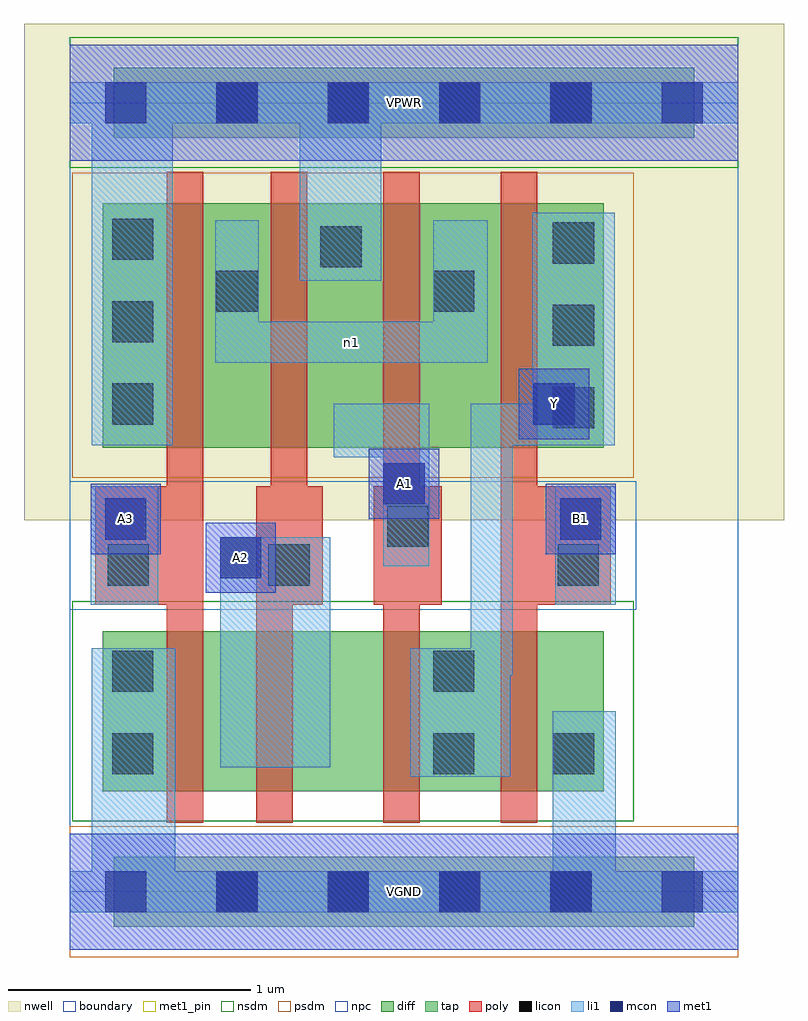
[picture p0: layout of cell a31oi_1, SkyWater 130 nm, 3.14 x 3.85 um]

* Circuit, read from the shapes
.subckt a31oi_1 A1 A2 A3 B1 VGND VPWR Y n1
XM1 n2 A3 VGND VGND sky130_fd_pr__nfet_01v8 w=0.66 l=0.15
XM2 n3 A2 n2 VGND sky130_fd_pr__nfet_01v8 w=0.66 l=0.15
XM3 Y A1 n3 VGND sky130_fd_pr__nfet_01v8 w=0.66 l=0.15
XM4 VGND B1 Y VGND sky130_fd_pr__nfet_01v8 w=0.66 l=0.15
XM5 n1 A3 VPWR VPWR sky130_fd_pr__pfet_01v8 w=1.01 l=0.15
XM6 VPWR A2 n1 VPWR sky130_fd_pr__pfet_01v8 w=1.01 l=0.15
XM7 n1 A1 VPWR VPWR sky130_fd_pr__pfet_01v8 w=1.01 l=0.15
XM8 Y B1 n1 VPWR sky130_fd_pr__pfet_01v8 w=1.01 l=0.15
.ends

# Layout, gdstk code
import gdstk
lib = gdstk.Library(unit=1e-6, precision=1e-09)
def R(c, l, rs):  # rectangles x0, y0, x1, y1
    for r in rs: c.add(gdstk.rectangle(r[:2], r[2:], *l))
def A(c, l, x, y, w, h, nx, ny, dx, dy):  # array of equal rectangles
    R(c, l, [(x+i*dx, y+j*dy, x+i*dx+w, y+j*dy+h) for i in range(nx) for j in range(ny)])
nwell = (64, 20)
diff = (65, 20)
tap = (65, 44)
poly = (66, 20)
licon = (66, 44)
li1 = (67, 20)
mcon = (67, 44)
met1_pin = (68, 16)
met1 = (68, 20)
nsdm = (93, 44)
psdm = (94, 20)
npc = (95, 20)
boundary = (235, 4)

a31oi_1 = lib.new_cell('a31oi_1')
R(a31oi_1, nwell, [(-0.19,1.535,2.95,3.585), (0,1.535,2.76,3.585)])
R(a31oi_1, diff, [(0.135,0.415,2.205,1.075), (0.135,1.835,2.205,2.845)])
R(a31oi_1, tap, [(0.18,-0.145,2.58,0.145), (0.18,3.115,2.58,3.405)])
R(a31oi_1, poly, [(0.4,0.285,0.55,2.975), (0.77,0.285,0.92,1.675), (1.295,0.285,1.445,2.975), (1.78,0.285,1.93,2.975), (0.105,1.185,0.55,1.675), (0.77,1.185,1.045,1.675), (0.83,1.185,0.98,2.975), (1.255,1.185,1.535,1.675), (1.78,1.185,2.235,1.675)])
A(a31oi_1, licon, 0.605, -0.085, 0.17, 0.17, 4, 2, 0.46, 3.26)
A(a31oi_1, licon, 1.995, 1.915, 0.17, 0.17, 1, 3, 0, 0.34)
A(a31oi_1, licon, 0.175, 1.93, 0.17, 0.17, 1, 3, 0, 0.34)
R(a31oi_1, licon, [(0.175,0.485,0.345,0.655), (1.5,0.485,1.67,0.655), (1.995,0.485,2.165,0.655), (0.175,0.825,0.345,0.995), (1.5,0.825,1.67,0.995), (0.155,1.265,0.325,1.435), (0.82,1.265,0.99,1.435), (2.015,1.265,2.185,1.435), (1.31,1.425,1.48,1.595), (0.605,2.395,0.775,2.565), (1.5,2.395,1.67,2.565), (1.035,2.58,1.205,2.75)])
R(a31oi_1, li1, [(0,-0.085,2.76,0.085), (0.09,-0.085,0.435,1.005), (1.995,-0.085,2.255,0.745), (1.405,0.475,1.82,1.005), (0.62,0.515,1.075,1.465), (1.655,0.895,1.83,2.015), (0.085,1.185,0.365,1.675), (2.005,1.185,2.255,1.675), (1.295,1.345,1.485,2.015), (1.09,1.795,1.485,2.015), (0.09,1.845,0.425,3.345), (1.655,1.845,2.25,2.015), (1.91,1.845,2.25,2.805), (0.6,2.185,1.725,2.355), (0.6,2.185,0.78,2.775), (1.5,2.185,1.725,2.775), (0.95,2.525,1.285,3.345), (0,3.175,2.76,3.345)])
A(a31oi_1, mcon, 0.145, -0.085, 0.17, 0.17, 6, 2, 0.46, 3.26)
R(a31oi_1, mcon, [(0.62,1.295,0.79,1.465), (0.145,1.455,0.315,1.625), (2.025,1.455,2.195,1.625), (1.295,1.6,1.465,1.77), (1.915,1.93,2.085,2.1)])
R(a31oi_1, met1_pin, [(0,-0.24,2.76,0.24), (0.56,1.235,0.85,1.525), (0.085,1.395,0.375,1.685), (1.965,1.395,2.255,1.685), (1.235,1.54,1.525,1.83), (1.855,1.87,2.145,2.16), (0,3.02,2.76,3.5)])
R(a31oi_1, met1, [(0,-0.24,2.76,0.24), (0.56,1.235,0.85,1.525), (0.085,1.395,0.375,1.685), (1.965,1.395,2.255,1.685), (1.235,1.54,1.525,1.83), (1.855,1.87,2.145,2.16), (0,3.02,2.76,3.5)])
R(a31oi_1, nsdm, [(0.01,0.29,2.33,1.2), (0,2.99,2.76,3.53)])
R(a31oi_1, psdm, [(0,-0.27,2.76,0.27), (0.01,1.71,2.33,2.97)])
R(a31oi_1, npc, [(0,1.165,2.34,1.695)])
R(a31oi_1, boundary, [(0,0,2.76,3.26)])
a31oi_1.add(gdstk.Label('n1', (1.162,2.27), layer=67, texttype=5))
a31oi_1.add(gdstk.Label('A1', (1.38,1.685), layer=68, texttype=5))
a31oi_1.add(gdstk.Label('A2', (0.705,1.38), layer=68, texttype=5))
a31oi_1.add(gdstk.Label('A3', (0.23,1.54), layer=68, texttype=5))
a31oi_1.add(gdstk.Label('B1', (2.11,1.54), layer=68, texttype=5))
a31oi_1.add(gdstk.Label('Y', (2,2.015), layer=68, texttype=5))
a31oi_1.add(gdstk.Label('VPWR', (1.38,3.26), layer=68, texttype=5))
a31oi_1.add(gdstk.Label('VGND', (1.38,0), layer=68, texttype=5))
a31oi_1.add(gdstk.Label('A1', (1.38,1.685), layer=68, texttype=16))
a31oi_1.add(gdstk.Label('A2', (0.705,1.38), layer=68, texttype=16))
a31oi_1.add(gdstk.Label('A3', (0.23,1.54), layer=68, texttype=16))
a31oi_1.add(gdstk.Label('B1', (2.11,1.54), layer=68, texttype=16))
a31oi_1.add(gdstk.Label('Y', (2,2.015), layer=68, texttype=16))
a31oi_1.add(gdstk.Label('VPWR', (1.38,3.26), layer=68, texttype=16))
a31oi_1.add(gdstk.Label('VGND', (1.38,0), layer=68, texttype=16))

lib.write_gds('a31oi_1.gds')
